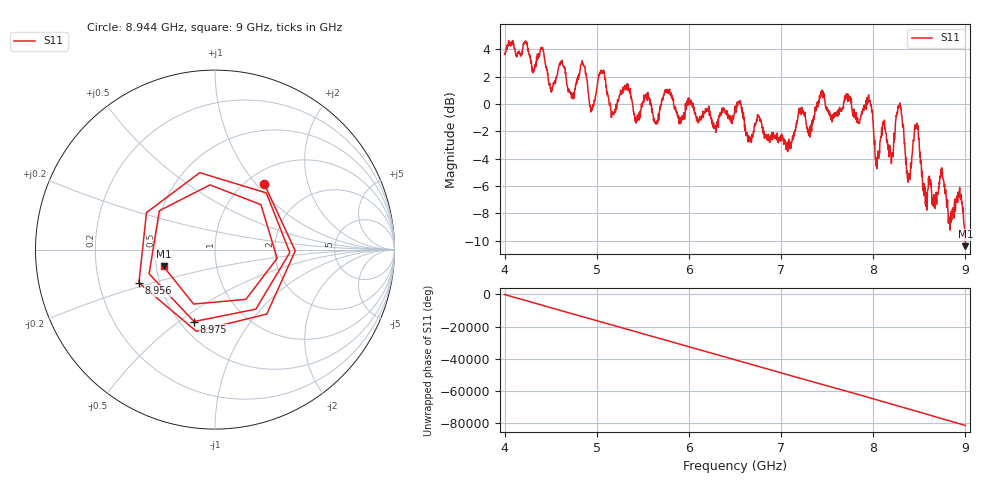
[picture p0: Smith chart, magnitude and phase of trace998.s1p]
! Created with skrf 1.8.0 (http://scikit-rf.org).
# Hz S RI R 50.0
!freq ReS11 ImS11
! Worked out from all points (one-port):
!   1601 points, 4 GHz to 9 GHz, reference 50 ohm
!   lowest |S11| = -10.4 dB at 9 GHz (marker M1), VSWR 1.86, Z = 27.3 - j5.65 ohm
!   |S11| at or under -10 dB: 8.998171 GHz to end of sweep
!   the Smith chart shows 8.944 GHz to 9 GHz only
!   S11 on the Smith chart (normalised r, x): 8.944 GHz: 1.20, +1.11; 8.956 GHz: 0.38, -0.18; 8.975 GHz: 0.59, -0.57; 9 GHz: 0.55, -0.11
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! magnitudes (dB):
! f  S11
! 4 GHz  3.6
! 4.406 GHz  4.1
! 4.506 GHz  0.9
! 4.625 GHz  3.2
! 4.731 GHz  0.7
! 4.85 GHz  2.9
! 4.944 GHz  -0.3
! 5.053 GHz  2.3
! 5.169 GHz  -0.8
! 5.25 GHz  0.7
! 5.875 GHz  -0.7
! 6.5 GHz  -0.2
! 7.125 GHz  -2.3
! 7.441 GHz  0.7
! 7.75 GHz  0.4
! 7.959 GHz  0.2
! 8.044 GHz  -3.9
! 8.112 GHz  -1.5
! 8.2 GHz  -3.7
! 8.288 GHz  0.0
! 8.375 GHz  -5.2
! 8.469 GHz  -1.8
! 8.562 GHz  -6.1
! 8.838 GHz  -8.3
! 8.944 GHz  -6.8
! 8.956 GHz  -6.7
! 8.975 GHz  -7.6
! 9 GHz  -10.4
